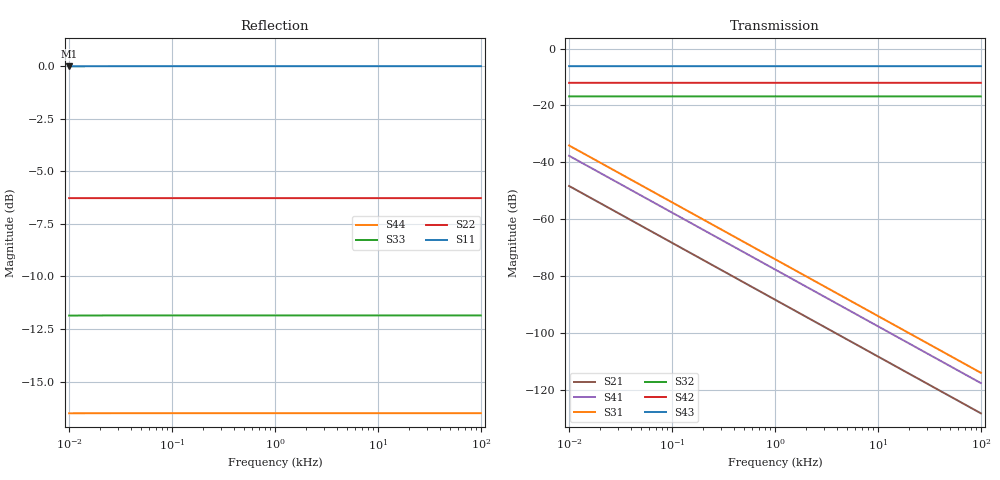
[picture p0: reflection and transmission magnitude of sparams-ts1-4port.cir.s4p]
# Hz S RI R 50
!  Freq  ReS11  ImS11  ReS12  ImS12  ReS13  ImS13  ReS14  ImS14
!  ReS21  ImS21  ReS22  ImS22  ReS23  ImS23  ReS24  ImS24
!  ReS31  ImS31  ReS32  ImS32  ReS33  ImS33  ReS34  ImS34
!  ReS41  ImS41  ReS42  ImS42  ReS43  ImS43  ReS44  ImS44
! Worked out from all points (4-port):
!   41 points, 10 Hz to 100 kHz, reference 50 ohm
!   strongest paths, dB at 10 Hz, 100 Hz, 1 kHz, 10 kHz, 100 kHz:
!     S43: -6.2, -6.2, -6.2, -6.2, -6.2
!     S42: -12.0, -12.0, -12.0, -12.0, -12.0
!     S32: -16.8, -16.8, -16.8, -16.8, -16.8
!     S31: -34.1, -54.1, -74.1, -94.1, -114.1
!     S41: -37.7, -57.7, -77.7, -97.7, -117.7
!     S21: -48.4, -68.3, -88.3, -108.3, -128.3
!   lowest |S11| = 0.0 dB at 10 Hz (marker M1)
!   |S11| at or under -10 dB: nowhere
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10  -0.996 -0.0635  0.000191 -0.00382  0.000987 -0.0197  0.00065 -0.013
    0.000191 -0.00382  0.4853 -0.00023  0.1444 -0.00118  0.2502 -0.000781
    0.000987 -0.0197  0.1444 -0.00118  -0.2551 -0.00611  0.4908 -0.00403
    0.00065 -0.013  0.2502 -0.000781  0.4908 -0.00403  -0.1495 -0.00265
39.81072  -0.999 -0.016  1.21e-05 -0.000961  6.24e-05 -0.00496  4.11e-05 -0.00327
          1.21e-05 -0.000961  0.4853 -5.78e-05  0.1443 -0.000298  0.2501 -0.000197
          6.24e-05 -0.00496  0.1443 -0.000298  -0.2554 -0.00154  0.4906 -0.00101
          4.11e-05 -0.00327  0.2501 -0.000197  0.4906 -0.00101  -0.1496 -0.000668
316.2278  -0.9992 -0.00201  1.92e-07 -0.000121  9.89e-07 -0.000624  6.52e-07 -0.000411
          1.92e-07 -0.000121  0.4853 -7.61e-06  0.1443 -3.76e-05  0.2501 -2.49e-05
          9.89e-07 -0.000624  0.1443 -3.76e-05  -0.2554 -0.000194  0.4906 -0.000128
          6.52e-07 -0.000411  0.2501 -2.49e-05  0.4906 -0.000128  -0.1496 -8.43e-05
398.1072  -0.9992 -0.0016  1.21e-07 -9.61e-05  6.24e-07 -0.000496  4.11e-07 -0.000327
          1.21e-07 -9.61e-05  0.4853 -6.2e-06  0.1443 -2.99e-05  0.2501 -1.98e-05
          6.24e-07 -0.000496  0.1443 -2.99e-05  -0.2554 -0.000154  0.4906 -0.000102
          4.11e-07 -0.000327  0.2501 -1.98e-05  0.4906 -0.000102  -0.1496 -6.7e-05
1258.925  -0.9992 -0.000505  1.2e-08 -3.04e-05  6.23e-08 -0.000157  4.1e-08 -0.000103
          1.2e-08 -3.04e-05  0.4853 -3.17e-06  0.1443 -9.77e-06  0.2501 -6.77e-06
          6.23e-08 -0.000157  0.1443 -9.77e-06  -0.2554 -4.91e-05  0.4906 -3.25e-05
          4.1e-08 -0.000103  0.2501 -6.77e-06  0.4906 -3.25e-05  -0.1496 -2.17e-05
1995.262  -0.9992 -0.000319  4.74e-09 -1.92e-05  2.48e-08 -9.89e-05  1.63e-08 -6.52e-05
          4.74e-09 -1.92e-05  0.4853 -3.27e-06  0.1443 -6.48e-06  0.2501 -4.8e-06
          2.48e-08 -9.89e-05  0.1443 -6.48e-06  -0.2554 -3.13e-05  0.4906 -2.09e-05
          1.63e-08 -6.52e-05  0.2501 -4.8e-06  0.4906 -2.09e-05  -0.1496 -1.43e-05
100000  -0.9992 -6.36e-06  -7.05e-11 -3.83e-07  -7.88e-11 -1.97e-06  -8.3e-11 -1.3e-06
        -7.05e-11 -3.83e-07  0.4853 -0.000106  0.1443 -2.68e-05  0.2501 -4.43e-05
        -7.88e-11 -1.97e-06  0.1443 -2.68e-05  -0.2554 -3.09e-05  0.4906 -3.21e-05
        -8.3e-11 -1.3e-06  0.2501 -4.43e-05  0.4906 -3.21e-05  -0.1496 -4.81e-05
